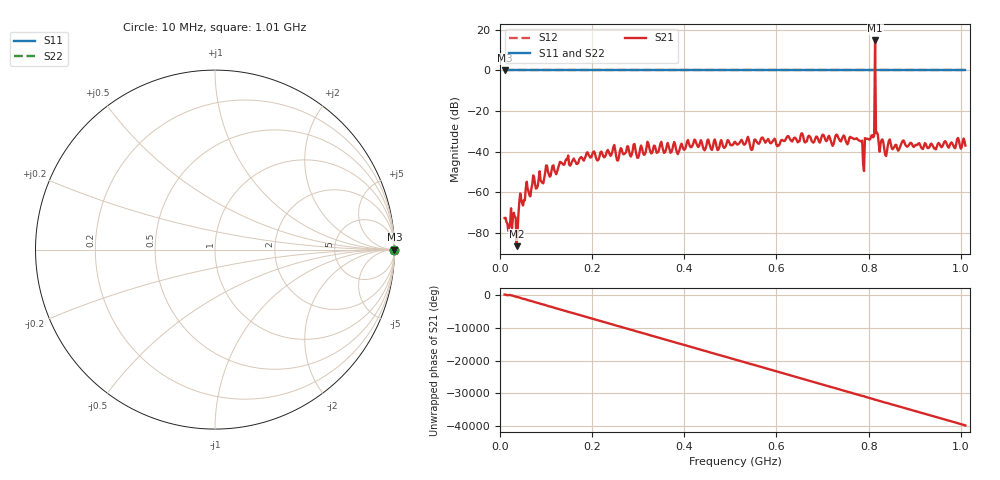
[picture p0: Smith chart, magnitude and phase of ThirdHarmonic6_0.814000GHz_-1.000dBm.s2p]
! 8/16/2025 3:05:45 AM
! C:\ANRITSUVNA\TEMP\TEMP.S2P
! CHANNEL.1
! TR.MEASUREMENT
! RAW.DATA
! RF.CORRECTION.OFF
! AVERAGING.OFF
! IF.BANDWIDTH: 5KHZ
! SWEEPTYPE:  FREQ.SWEEP(Linear)
! Reference Plane Port Info
! PORT:  PORT1  PORT2
! DISTANCE:  0  m  0  m
! TIME:  0  s  0  s
! PHASE.OFFSET:  0  deg.  0  deg.
! LOSS:  0  dB  0  dB
! REF.LOSS:  0  dB  0  dB
! REF.FREQ:  0  Hz  0  Hz
! Power Info
! POWER:  -20  dBm  -20  dBm
! EFF.POWER:  -20  dBm  -20  dBm
! SOURCE.ATTEN:  0  dB  0  dB
! TEST.ATTEN:  0  dB  0  dB
# GHZ S RI R 50.0
! FREQ.GHZ  S11RE  S11IM  S21RE  S21IM  S12RE  S12IM  S22RE  S22IM
!; PortSelection: Port_12
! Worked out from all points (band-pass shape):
!   501 points, 10 MHz to 1.01 GHz, reference 50 ohm
!   highest |S21| = 14.67 dB at 814 MHz (marker M1); lowest = -86.5 dB at 36 MHz (marker M2)
!   |S21| within 3 dB of the highest: 813.8714 MHz to 814.1316 MHz (260.3 kHz wide, 0.032 % of centre)
!   lowest |S11| = 0.0 dB at 10 MHz (marker M3)
!   |S11| at or under -10 dB: nowhere
!   |S22| runs from 0.0 to 0.0 dB; largest |S21 - S12| = 4.5
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0.01  1 0  -0.000225 5.92e-05  1 0  1 0
0.036  1 0  -3.08e-05 3.58e-05  1 0  1 0
0.044  1 0  -0.000598 -0.000722  1 0  1 0
0.072  1 0  -0.0026 0.000129  1 0  1 0
0.144  1 0  -0.00334 0.00562  1 0  1 0
0.178  1 0  -0.00703 0.000124  1 0  1 0
0.344  1 0  0.00916 -0.00389  1 0  1 0
0.51  1 0  -0.00869 0.0152  1 0  1 0
0.678  1 0  -0.0174 0.000229  1 0  1 0
0.764  1 0  0.0143 -0.0166  1 0  1 0
0.782  1 0  0.00999 -0.015  1 0  1 0
0.786  1 0  -0.0159 0.00986  1 0  1 0
0.792  1 0  -0.00341 -0.0211  1 0  1 0
0.796  1 0  -0.00366 0.0203  1 0  1 0
0.808  1 0  0.0214 -0.0137  1 0  1 0
0.81  1 0  -0.00954 -0.0202  1 0  1 0
0.814  1 0  4.967 2.147  1 0  1 0
0.818  1 0  0.00285 -0.0294  1 0  1 0
0.82  1 0  -0.0259 0.00304  1 0  1 0
0.838  1 0  -0.00673 -0.00389  1 0  1 0
0.844  1 0  0.0166 -0.00843  1 0  1 0
1.01  1 0  -0.00455 0.0133  1 0  1 0
